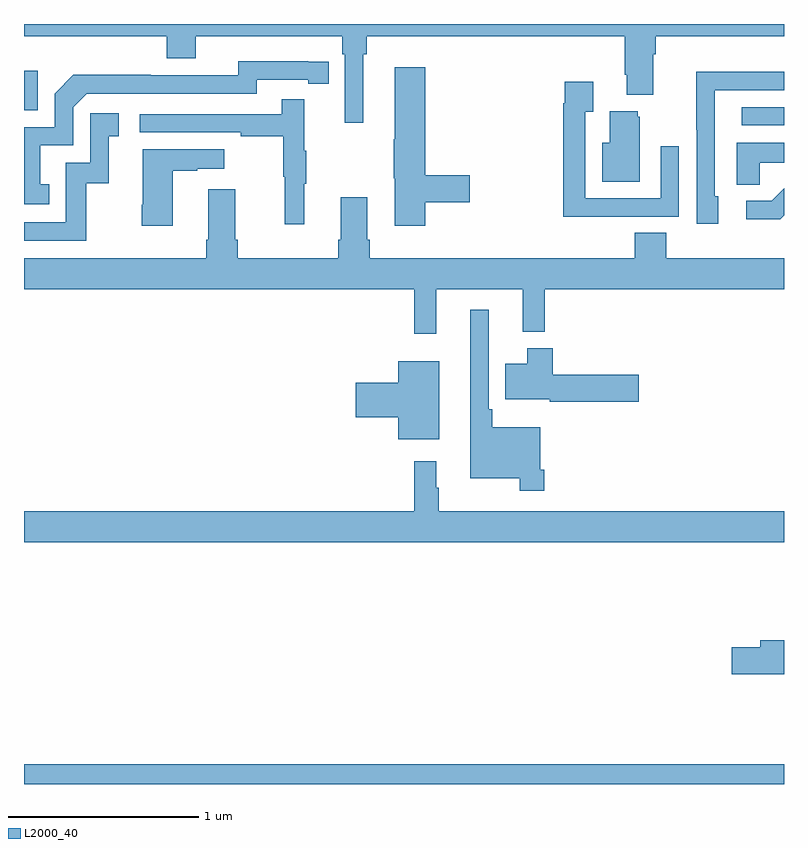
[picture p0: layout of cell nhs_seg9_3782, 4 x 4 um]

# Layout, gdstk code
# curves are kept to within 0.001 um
import gdstk
lib = gdstk.Library(unit=1e-6, precision=1e-09)
def R(c, l, rs):  # rectangles x0, y0, x1, y1
    for r in rs: c.add(gdstk.rectangle(r[:2], r[2:], *l))
def P(c, l, *ps):  # polygons
    for p in ps: c.add(gdstk.Polygon(p, *l))
L2000_40 = (2000, 40)

nhs_seg9_3782 = lib.new_cell('nhs_seg9_3782')
R(nhs_seg9_3782, L2000_40, [(327,1176.5,331,1176.604), (330.777,1179.966,331,1180.062), (327,1180.047,327.072,1180.255)])
P(nhs_seg9_3782, L2000_40, [(328.786,1180.34),(328.805,1180.34),(328.805,1180.436),(330.161,1180.436),(330.161,1180.234),(330.173,1180.234),(330.173,1180.127),(330.313,1180.127),(330.313,1180.34),(330.326,1180.34),(330.326,1180.436),(331,1180.436),(331,1180.5),(327,1180.5),(327,1180.436),(327.752,1180.436),(327.752,1180.319),(327.904,1180.319),(327.904,1180.436),(328.676,1180.436),(328.676,1180.34),(328.689,1180.34),(328.689,1179.981),(328.786,1179.981)],
  [(327.134,1179.657),(327.085,1179.657),(327.085,1179.861),(327.258,1179.861),(327.258,1180.062),(327.33,1180.134),(328.224,1180.134),(328.224,1180.206),(328.496,1180.206),(328.496,1180.186),(328.604,1180.186),(328.604,1180.302),(328.128,1180.303),(328.128,1180.23),(327.668,1180.23),(327.668,1180.232),(327.26,1180.232),(327.162,1180.134),(327.162,1179.957),(327,1179.957),(327,1179.552),(327.134,1179.552)],
  [(329.111,1179.562),(329.347,1179.562),(329.347,1179.704),(329.111,1179.704),(329.111,1180.273),(328.952,1180.273),(328.952,1179.893),(328.945,1179.893),(328.945,1179.687),(328.952,1179.687),(328.952,1179.438),(329.111,1179.438)],
  [(330.655,1179.594),(330.636,1179.594),(330.636,1180.152),(331,1180.152),(331,1180.25),(330.538,1180.25),(330.538,1179.943),(330.54,1179.943),(330.54,1179.45),(330.655,1179.45)],
  [(330.131,1179.486),(330.447,1179.486),(330.447,1179.856),(330.351,1179.856),(330.351,1179.582),(329.955,1179.582),(329.955,1180.039),(329.995,1180.039),(329.995,1180.195),(329.847,1180.195),(329.847,1180.082),(329.839,1180.082),(329.839,1179.485),(330.131,1179.485)],
  [(328.475,1179.659),(328.486,1179.659),(328.486,1179.833),(328.475,1179.833),(328.475,1180.105),(328.357,1180.105),(328.357,1180.026),(327.609,1180.026),(327.609,1179.93),(328.141,1179.93),(328.141,1179.91),(328.365,1179.91),(328.365,1179.696),(328.372,1179.696),(328.372,1179.447),(328.475,1179.447)],
  [(330.241,1180.011),(330.23,1180.011),(330.23,1180.042),(330.083,1180.042),(330.083,1179.874),(330.044,1179.874),(330.044,1179.671),(330.241,1179.671)],
  [(327.328,1179.663),(327.446,1179.663),(327.446,1179.909),(327.499,1179.909),(327.499,1180.03),(327.348,1180.03),(327.348,1179.771),(327.219,1179.771),(327.219,1179.456),(327,1179.456),(327,1179.36),(327.328,1179.36)],
  [(330.873,1179.77),(331,1179.77),(331,1179.874),(330.752,1179.874),(330.752,1179.655),(330.873,1179.655)],
  [(327.784,1179.727),(327.911,1179.727),(327.911,1179.737),(328.054,1179.737),(328.054,1179.841),(327.626,1179.841),(327.626,1179.55),(327.619,1179.55),(327.619,1179.438),(327.784,1179.438)],
  [(331,1179.494),(331,1179.635),(330.935,1179.57),(330.801,1179.57),(330.801,1179.473),(330.979,1179.473)],
  [(329.171,1179.104),(329.624,1179.104),(329.624,1178.879),(329.741,1178.879),(329.741,1179.104),(331,1179.104),(331,1179.268),(330.38,1179.268),(330.38,1179.401),(330.215,1179.401),(330.215,1179.268),(328.82,1179.268),(328.82,1179.364),(328.807,1179.364),(328.807,1179.589),(328.667,1179.589),(328.667,1179.364),(328.655,1179.364),(328.655,1179.268),(328.124,1179.268),(328.124,1179.364),(328.111,1179.364),(328.111,1179.631),(327.971,1179.631),(327.971,1179.364),(327.959,1179.364),(327.959,1179.268),(327,1179.268),(327,1179.104),(329.053,1179.104),(329.053,1178.871),(329.171,1178.871)],
  [(329.738,1178.155),(329.718,1178.155),(329.718,1178.377),(329.465,1178.377),(329.465,1178.473),(329.445,1178.473),(329.445,1178.995),(329.348,1178.995),(329.348,1178.108),(329.61,1178.108),(329.61,1178.043),(329.738,1178.043)],
  [(330.235,1178.655),(329.783,1178.655),(329.783,1178.794),(329.648,1178.794),(329.648,1178.713),(329.534,1178.713),(329.534,1178.525),(329.766,1178.525),(329.766,1178.513),(330.235,1178.513)],
  [(329.185,1178.725),(328.97,1178.725),(328.97,1178.612),(328.746,1178.612),(328.746,1178.429),(328.97,1178.429),(328.97,1178.315),(329.185,1178.315)],
  [(331,1177.936),(329.182,1177.936),(329.182,1178.06),(329.17,1178.06),(329.17,1178.2),(329.053,1178.2),(329.053,1177.936),(327,1177.936),(327,1177.772),(331,1177.772)],
  [(331,1177.256),(330.875,1177.256),(330.875,1177.22),(330.726,1177.22),(330.726,1177.078),(331,1177.078)])

lib.write_gds('nhs_seg9_3782.gds')
